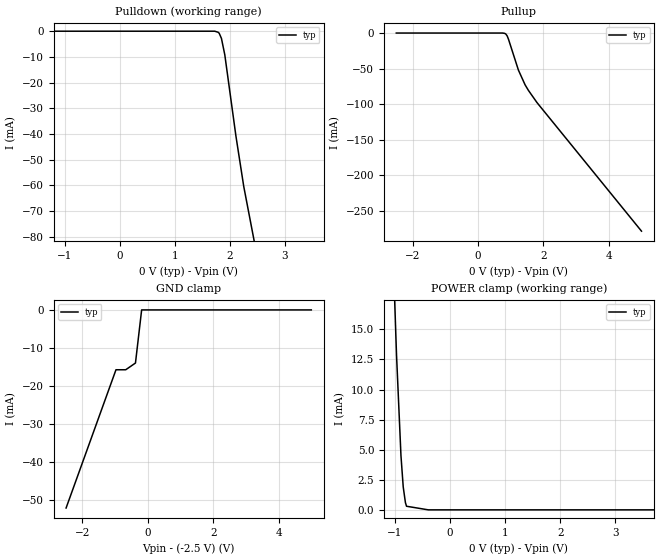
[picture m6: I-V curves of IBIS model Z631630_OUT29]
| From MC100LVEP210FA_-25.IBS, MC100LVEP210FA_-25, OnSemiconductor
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| (C) COPYRIGHT 1993-2000
| MENTOR GRAPHICS CORPORATION
| ICX STANDARD LIBRARY, ICX PROJECT MODELING,
| ICX CUSTOM MODELING, ICX VENDOR MODEL
| ALL RIGHTS RESERVED.
| THE FOLLOWING ARE TRADEMARKS OR SERVICE MARKS OF
| MENTOR GRAPHICS CORPORATION:ICX (R), ICX STANDARD
| LIBRARY(R), ICX PROJECT MODELING(R), ICX CUSTOM
| MODELING(R), qualityIBIS(TM), MODELVIEWER(TM),
| AND MODELEDITOR(TM)
| ALL COPIES OF SOFTWARE, INCLUDING BUT NOT LIMITED TO
| ANY MODIFICATIONS, ENHANCEMENTS OR DERIVATIVE WORKS,
| MUST CONTAIN ALL MENTOR GRAPHICS CORPORATION'S
| NOTICES AND LEGENDS, INCLUDING THOSE EMBEDDED IN
| SOFTWARE AND THOSE AFFIXED TO SOFTWARE MEDIUM
| AND CONTAINER, AS RECEIVED FROM MENTOR GRAPHICS
| CORPORATION.
| Model Application Version 1.89 2/18/99.
[Model] Z631630_OUT29
Model_type Output_ECL
Vref=-2.000V
Rref=50.00ohms
Cref=0.000F
Vmeas=-1.400V
C_comp 1.000pF NA NA
| variable typ   min   max
[Voltage Range] -2.500V NA NA
[POWER Clamp Reference] 0.000V NA NA
[Pullup Reference] 0.000V NA NA
[Pulldown Reference] 0.000V NA NA
[GND Clamp Reference] -2.500V NA NA
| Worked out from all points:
|   GND clamp passes 1 mA (typ) near -0.20 V on its own axis
|   POWER clamp passes 1 mA (typ) near -0.82 V on its own axis
[GND Clamp]
-2.5V     -52.14mA   NA         NA
-974.2mV  -15.75mA   NA         NA
-676.1mV  -15.75mA   NA         NA
-378mV    -13.98mA   NA         NA
-189mV    0A         NA         NA
5V        0A         NA         NA
[Pulldown]
-2.5V     0A         NA         NA
1.723V    0A         NA         NA
1.784V    -400uA     NA         NA
1.804V    -800uA     NA         NA
1.845V    -2.8mA     NA         NA
1.906V    -9.2mA     NA         NA
2.108V    -40.8mA    NA         NA
2.25V     -60.4mA    NA         NA
5V        -368.3mA   NA         NA
[Pullup]
-2.5V     0A         NA         NA
750mV     0A         NA         NA
811mV     -400uA     NA         NA
851mV     -1.4mA     NA         NA
892mV     -4.1mA     NA         NA
932mV     -8.7mA     NA         NA
1.236V    -52.2mA    NA         NA
1.439V    -72.8mA    NA         NA
1.54V     -80.6mA    NA         NA
1.804V    -97.9mA    NA         NA
5V        -278.8mA   NA         NA
[POWER Clamp]
-2.5V     263.1mA    NA         NA
-1.054V   23.8mA     NA         NA
-973mV    12.9mA     NA         NA
-892mV    4.5mA      NA         NA
-851mV    1.9mA      NA         NA
-811mV    600uA      NA         NA
-791mV    300uA      NA         NA
-395.5mV  0A         NA         NA
5V        0A         NA         NA
[Ramp]
| variable typ min max
dV/dt_r 502.7m/142.6p NA NA
dV/dt_f 502.7m/141.6p NA NA
R_load = 50.00Ohms
